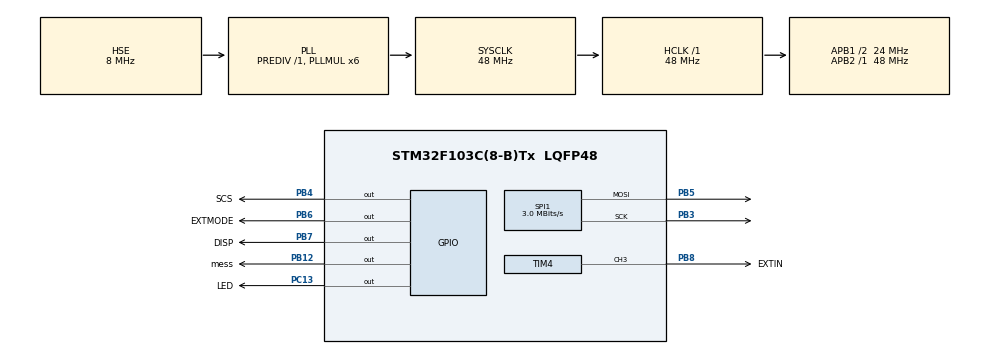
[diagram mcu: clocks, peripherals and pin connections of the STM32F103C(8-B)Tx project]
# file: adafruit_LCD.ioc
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Dma.Request0=SPI1_TX
Dma.SPI1_TX.0.Direction=DMA_MEMORY_TO_PERIPH
Dma.SPI1_TX.0.Instance=DMA1_Channel3
Dma.SPI1_TX.0.MemDataAlignment=DMA_MDATAALIGN_BYTE
Dma.SPI1_TX.0.MemInc=DMA_MINC_ENABLE
Dma.SPI1_TX.0.Mode=DMA_NORMAL
Dma.SPI1_TX.0.PeriphDataAlignment=DMA_PDATAALIGN_BYTE
Dma.SPI1_TX.0.PeriphInc=DMA_PINC_DISABLE
Dma.SPI1_TX.0.Priority=DMA_PRIORITY_LOW
Mcu.Family=STM32F1
Mcu.Name=STM32F103C(8-B)Tx
Mcu.Package=LQFP48
NVIC.DMA1_Channel3_IRQn=true\:0\:0\:false\:false\:true\:false\:true\:true
NVIC.PriorityGroup=NVIC_PRIORITYGROUP_4
PA13.Mode=Serial_Wire
PA13.Signal=SYS_JTMS-SWDIO
PA14.Mode=Serial_Wire
PA14.Signal=SYS_JTCK-SWCLK
PB12.GPIO_Label=mess
PB12.Signal=GPIO_Output
PB3.Mode=TX_Only_Simplex_Unidirect_Master
PB3.Signal=SPI1_SCK
PB4.GPIO_Label=SCS
PB4.Signal=GPIO_Output
PB5.Mode=TX_Only_Simplex_Unidirect_Master
PB5.Signal=SPI1_MOSI
PB6.GPIO_Label=EXTMODE
PB6.Signal=GPIO_Output
PB7.GPIO_Label=DISP
PB7.Signal=GPIO_Output
PB8.GPIO_Label=EXTIN
PB8.Signal=S_TIM4_CH3
PC13-TAMPER-RTC.GPIO_Label=LED
PC13-TAMPER-RTC.Signal=GPIO_Output
PC14-OSC32_IN.Mode=LSE-External-Oscillator
PC14-OSC32_IN.Signal=RCC_OSC32_IN
PC15-OSC32_OUT.Mode=LSE-External-Oscillator
PC15-OSC32_OUT.Signal=RCC_OSC32_OUT
PD0-OSC_IN.Mode=HSE-External-Oscillator
PD0-OSC_IN.Signal=RCC_OSC_IN
PD1-OSC_OUT.Mode=HSE-External-Oscillator
PD1-OSC_OUT.Signal=RCC_OSC_OUT
ProjectManager.HeapSize=0x200
ProjectManager.StackSize=0x400
ProjectManager.TargetToolchain=STM32CubeIDE
RCC.AHBFreq_Value=48000000
RCC.APB1CLKDivider=RCC_HCLK_DIV2
RCC.APB1Freq_Value=24000000
RCC.APB1TimFreq_Value=48000000
RCC.APB2Freq_Value=48000000
RCC.APB2TimFreq_Value=48000000
RCC.HCLKFreq_Value=48000000
RCC.PLLMUL=RCC_PLL_MUL6
RCC.PLLSourceVirtual=RCC_PLLSOURCE_HSE
RCC.SYSCLKFreq_VALUE=48000000
RCC.SYSCLKSource=RCC_SYSCLKSOURCE_PLLCLK
RCC.USBFreq_Value=48000000
SH.S_TIM4_CH3.0=TIM4_CH3,PWM Generation3 CH3
SPI1.BaudRatePrescaler=SPI_BAUDRATEPRESCALER_16
SPI1.CalculateBaudRate=3.0 MBits/s
SPI1.DataSize=SPI_DATASIZE_8BIT
SPI1.Direction=SPI_DIRECTION_2LINES
SPI1.Mode=SPI_MODE_MASTER
SPI1.VirtualType=VM_MASTER
TIM4.Channel-PWM\ Generation3\ CH3=TIM_CHANNEL_3
TIM4.Period=65394
TIM4.Prescaler=366
TIM4.Pulse-PWM\ Generation3\ CH3=131
VP_TIM4_VS_ClockSourceINT.Mode=Internal
board=custom

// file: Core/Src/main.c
/* USER CODE BEGIN Header */
/**
  ******************************************************************************
  * @file           : main.c
  * @brief          : Main program body
  ******************************************************************************
  * @attention
  *
  * Copyright (c) 2023 STMicroelectronics.
  * All rights reserved.
  *
  * This software is licensed under terms that can be found in the LICENSE file
  * in the root directory of this software component.
  * If no LICENSE file comes with this software, it is provided AS-IS.
  *
  ******************************************************************************
  */
/* USER CODE END Header */
#include "main.h"

/* USER CODE BEGIN Includes */
#include <stdlib.h>
#include "memdisp.h"

/* USER CODE END Includes */

SPI_HandleTypeDef hspi1;
DMA_HandleTypeDef hdma_spi1_tx;

TIM_HandleTypeDef htim4;

/* USER CODE BEGIN PV */
//volatile uint8_t disp_buffer[(400/8+2)*240];
volatile uint8_t buff[16] = {1,2,3,4,
		5,6,7,8,
		9,10,11,12,
		13,14,15,16,};

/* USER CODE END PV */

void SystemClock_Config(void);
static void MX_GPIO_Init(void);
static void MX_DMA_Init(void);
static void MX_SPI1_Init(void);
static void MX_TIM4_Init(void);

/* USER CODE BEGIN 0 */

/**
  * @brief  Tx Transfer completed callback.
  * @param  hspi pointer to a SPI_HandleTypeDef structure that contains
  *               the configuration information for SPI module.
  * @retval None
  */
volatile uint8_t cnt = 0;
void HAL_SPI_TxCpltCallback(SPI_HandleTypeDef *hspi)
{
  /* Prevent unused argument(s) compilation warning */
  UNUSED(hspi);
  cnt++;

  HAL_GPIO_WritePin(SCS_GPIO_Port,SCS_Pin, GPIO_PIN_RESET);

  /* NOTE : This function should not be modified, when the callback is needed,
            the HAL_SPI_TxCpltCallback should be implemented in the user file
   */
}

unsigned int g_seed = 0x12345678;

// Used to seed the generator.
inline void fast_srand(int seed) {
    g_seed = seed;
}

// Compute a pseudorandom integer.
// Output value in range [0, 32767]
inline int fast_rand(void) {
    g_seed = (214013*g_seed+2531011);
    return (g_seed>>16)&0x7FFF;
}
volatile int delay=33;

extern char rawdata_start;
extern char   _bindata;
const  char *pRawData;
volatile char RawDataConsume;
/* USER CODE END 0 */

int main(void)
{
  /* USER CODE BEGIN 1 */
	//disp_buffer[0]=reverse_byte(0x12);

  /* USER CODE END 1 */

  /* MCU Configuration--------------------------------------------------------*/

  /* Reset of all peripherals, Initializes the Flash interface and the Systick. */
  HAL_Init();

  /* Configure the system clock */
  SystemClock_Config();

  /* Initialize all configured peripherals */
  MX_GPIO_Init();
  MX_DMA_Init();
  MX_SPI1_Init();
  MX_TIM4_Init();
  /* USER CODE BEGIN 2 */
  mlcd_init();

  HAL_Delay(5);
  HAL_GPIO_WritePin(EXTMODE_GPIO_Port,EXTMODE_Pin, 1);
  HAL_Delay(1);
  HAL_GPIO_WritePin(DISP_GPIO_Port,DISP_Pin, 1);

  /* USER CODE END 2 */
  pRawData = &rawdata_start;

  /* Infinite loop */
  /* USER CODE BEGIN WHILE */
  HAL_TIM_PWM_Start(&htim4, TIM_CHANNEL_3);
  mlcd_CopyFlashData(pRawData);
	while (1) {
    /* USER CODE END WHILE */

    /* USER CODE BEGIN 3 */

		/*
		extern char rawdata_start;
		const  char *pRawData;
		volatile char RawDataConsume;
*/
		RawDataConsume = *pRawData++;
		HAL_GPIO_TogglePin(LED_GPIO_Port, LED_Pin);

		HAL_GPIO_WritePin(SCS_GPIO_Port, SCS_Pin, GPIO_PIN_SET);
		//HAL_SPI_Transmit_DMA(&hspi1, buff, 16);

		HAL_GPIO_WritePin(mess_GPIO_Port, mess_Pin, 1);

		HAL_SPI_Transmit_DMA(&hspi1, mlcd_disp_buffer, mlcd_disp_buffer_size);
		HAL_Delay(delay);

		//for (int i = 0; i < 40000/8; i++)
//			mlcd_setbyte(fast_rand() % 50, fast_rand() % 240, fast_rand() & 0xff);
		//mlcd_fill_with_rand();
		HAL_GPIO_WritePin(mess_GPIO_Port, mess_Pin, 0);
	}
  /* USER CODE END 3 */
}

void SystemClock_Config(void)
{
  RCC_OscInitTypeDef RCC_OscInitStruct = {0};
  RCC_ClkInitTypeDef RCC_ClkInitStruct = {0};

  /** Initializes the RCC Oscillators according to the specified parameters
  * in the RCC_OscInitTypeDef structure.
  */
  RCC_OscInitStruct.OscillatorType = RCC_OSCILLATORTYPE_HSE;
  RCC_OscInitStruct.HSEState = RCC_HSE_ON;
  RCC_OscInitStruct.HSEPredivValue = RCC_HSE_PREDIV_DIV1;
  RCC_OscInitStruct.HSIState = RCC_HSI_ON;
  RCC_OscInitStruct.PLL.PLLState = RCC_PLL_ON;
  RCC_OscInitStruct.PLL.PLLSource = RCC_PLLSOURCE_HSE;
  RCC_OscInitStruct.PLL.PLLMUL = RCC_PLL_MUL6;
  if (HAL_RCC_OscConfig(&RCC_OscInitStruct) != HAL_OK)
  {
    Error_Handler();
  }

  /** Initializes the CPU, AHB and APB buses clocks
  */
  RCC_ClkInitStruct.ClockType = RCC_CLOCKTYPE_HCLK|RCC_CLOCKTYPE_SYSCLK
                              |RCC_CLOCKTYPE_PCLK1|RCC_CLOCKTYPE_PCLK2;
  RCC_ClkInitStruct.SYSCLKSource = RCC_SYSCLKSOURCE_PLLCLK;
  RCC_ClkInitStruct.AHBCLKDivider = RCC_SYSCLK_DIV1;
  RCC_ClkInitStruct.APB1CLKDivider = RCC_HCLK_DIV2;
  RCC_ClkInitStruct.APB2CLKDivider = RCC_HCLK_DIV1;

  if (HAL_RCC_ClockConfig(&RCC_ClkInitStruct, FLASH_LATENCY_1) != HAL_OK)
  {
    Error_Handler();
  }
}

static void MX_SPI1_Init(void)
{

  /* SPI1 parameter configuration*/
  hspi1.Instance = SPI1;
  hspi1.Init.Mode = SPI_MODE_MASTER;
  hspi1.Init.Direction = SPI_DIRECTION_2LINES;
  hspi1.Init.DataSize = SPI_DATASIZE_8BIT;
  hspi1.Init.CLKPolarity = SPI_POLARITY_LOW;
  hspi1.Init.CLKPhase = SPI_PHASE_1EDGE;
  hspi1.Init.NSS = SPI_NSS_SOFT;
  hspi1.Init.BaudRatePrescaler = SPI_BAUDRATEPRESCALER_16;
  hspi1.Init.FirstBit = SPI_FIRSTBIT_MSB;
  hspi1.Init.TIMode = SPI_TIMODE_DISABLE;
  hspi1.Init.CRCCalculation = SPI_CRCCALCULATION_DISABLE;
  hspi1.Init.CRCPolynomial = 10;
  if (HAL_SPI_Init(&hspi1) != HAL_OK)
  {
    Error_Handler();
  }

}

static void MX_TIM4_Init(void)
{

  TIM_ClockConfigTypeDef sClockSourceConfig = {0};
  TIM_MasterConfigTypeDef sMasterConfig = {0};
  TIM_OC_InitTypeDef sConfigOC = {0};

  htim4.Instance = TIM4;
  htim4.Init.Prescaler = 366;
  htim4.Init.CounterMode = TIM_COUNTERMODE_UP;
  htim4.Init.Period = 65394;
  htim4.Init.ClockDivision = TIM_CLOCKDIVISION_DIV1;
  htim4.Init.AutoReloadPreload = TIM_AUTORELOAD_PRELOAD_DISABLE;
  if (HAL_TIM_Base_Init(&htim4) != HAL_OK)
  {
    Error_Handler();
  }
  sClockSourceConfig.ClockSource = TIM_CLOCKSOURCE_INTERNAL;
  if (HAL_TIM_ConfigClockSource(&htim4, &sClockSourceConfig) != HAL_OK)
  {
    Error_Handler();
  }
  if (HAL_TIM_PWM_Init(&htim4) != HAL_OK)
  {
    Error_Handler();
  }
  sMasterConfig.MasterOutputTrigger = TIM_TRGO_RESET;
  sMasterConfig.MasterSlaveMode = TIM_MASTERSLAVEMODE_DISABLE;
  if (HAL_TIMEx_MasterConfigSynchronization(&htim4, &sMasterConfig) != HAL_OK)
  {
    Error_Handler();
  }
  sConfigOC.OCMode = TIM_OCMODE_PWM1;
  sConfigOC.Pulse = 131;
  sConfigOC.OCPolarity = TIM_OCPOLARITY_HIGH;
  sConfigOC.OCFastMode = TIM_OCFAST_DISABLE;
  if (HAL_TIM_PWM_ConfigChannel(&htim4, &sConfigOC, TIM_CHANNEL_3) != HAL_OK)
  {
    Error_Handler();
  }
  HAL_TIM_MspPostInit(&htim4);

}

static void MX_DMA_Init(void)
{

  /* DMA controller clock enable */
  __HAL_RCC_DMA1_CLK_ENABLE();

  /* DMA interrupt init */
  /* DMA1_Channel3_IRQn interrupt configuration */
  HAL_NVIC_SetPriority(DMA1_Channel3_IRQn, 0, 0);
  HAL_NVIC_EnableIRQ(DMA1_Channel3_IRQn);

}

static void MX_GPIO_Init(void)
{
  GPIO_InitTypeDef GPIO_InitStruct = {0};

  /* GPIO Ports Clock Enable */
  __HAL_RCC_GPIOC_CLK_ENABLE();
  __HAL_RCC_GPIOD_CLK_ENABLE();
  __HAL_RCC_GPIOB_CLK_ENABLE();
  __HAL_RCC_GPIOA_CLK_ENABLE();

  /*Configure GPIO pin Output Level */
  HAL_GPIO_WritePin(LED_GPIO_Port, LED_Pin, GPIO_PIN_RESET);

  /*Configure GPIO pin Output Level */
  HAL_GPIO_WritePin(GPIOB, mess_Pin|SCS_Pin|EXTMODE_Pin|DISP_Pin, GPIO_PIN_RESET);

  /*Configure GPIO pin : LED_Pin */
  GPIO_InitStruct.Pin = LED_Pin;
  GPIO_InitStruct.Mode = GPIO_MODE_OUTPUT_PP;
  GPIO_InitStruct.Pull = GPIO_NOPULL;
  GPIO_InitStruct.Speed = GPIO_SPEED_FREQ_LOW;
  HAL_GPIO_Init(LED_GPIO_Port, &GPIO_InitStruct);

  /*Configure GPIO pins : mess_Pin SCS_Pin EXTMODE_Pin DISP_Pin */
  GPIO_InitStruct.Pin = mess_Pin|SCS_Pin|EXTMODE_Pin|DISP_Pin;
  GPIO_InitStruct.Mode = GPIO_MODE_OUTPUT_PP;
  GPIO_InitStruct.Pull = GPIO_NOPULL;
  GPIO_InitStruct.Speed = GPIO_SPEED_FREQ_LOW;
  HAL_GPIO_Init(GPIOB, &GPIO_InitStruct);

}

void Error_Handler(void)
{
  __disable_irq();
  while (1)
  {
  }
}
